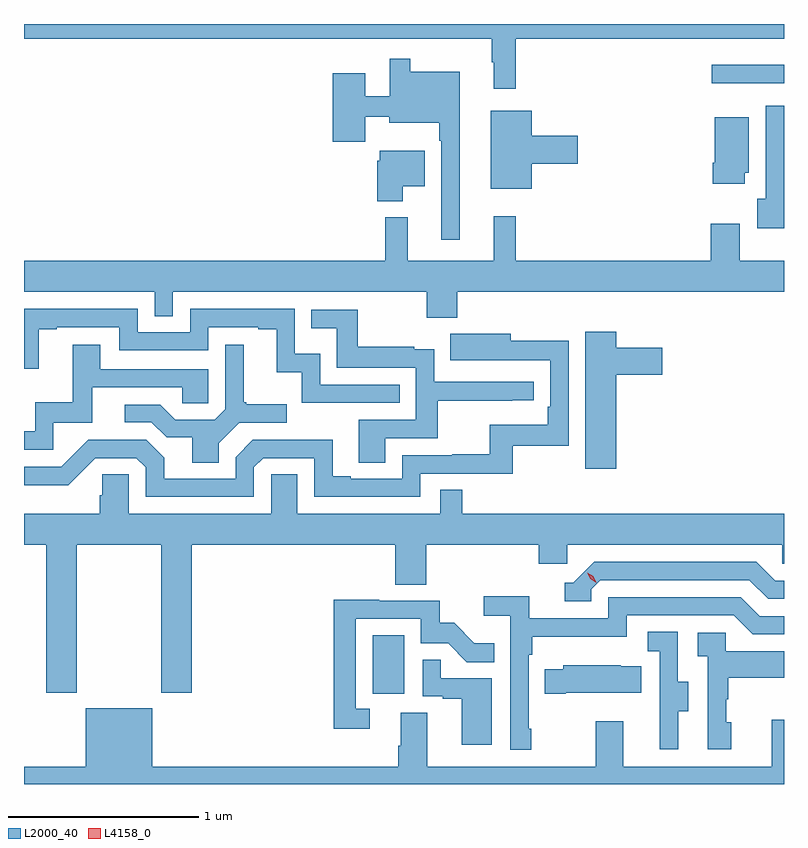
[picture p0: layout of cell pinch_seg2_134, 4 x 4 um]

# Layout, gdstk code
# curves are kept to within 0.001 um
import gdstk
lib = gdstk.Library(unit=1e-6, precision=1e-09)
def R(c, l, rs):  # rectangles x0, y0, x1, y1
    for r in rs: c.add(gdstk.rectangle(r[:2], r[2:], *l))
def P(c, l, *ps):  # polygons
    for p in ps: c.add(gdstk.Polygon(p, *l))
L2000_40 = (2000, 40)
L4158_0 = (4158, 0)

pinch_seg2_134 = lib.new_cell('pinch_seg2_134')
R(pinch_seg2_134, L2000_40, [(1057.538,638.862,1057.702,639.169), (1059.321,642.075,1059.702,642.172)])
P(pinch_seg2_134, L2000_40, [(1058.291,642.308),(1059.702,642.308),(1059.702,642.386),(1055.702,642.386),(1055.702,642.308),(1058.163,642.308),(1058.163,642.185),(1058.174,642.185),(1058.174,642.045),(1058.291,642.045)],
  [(1057.996,642.136),(1057.735,642.136),(1057.735,642.202),(1057.626,642.202),(1057.626,642.007),(1057.498,642.007),(1057.498,642.127),(1057.328,642.127),(1057.328,641.766),(1057.498,641.766),(1057.498,641.897),(1057.625,641.897),(1057.625,641.867),(1057.887,641.867),(1057.887,641.771),(1057.899,641.771),(1057.899,641.25),(1057.996,641.25)],
  [(1059.702,641.956),(1059.605,641.956),(1059.605,641.466),(1059.56,641.466),(1059.56,641.312),(1059.702,641.312)],
  [(1058.374,641.651),(1058.617,641.651),(1058.617,641.798),(1058.374,641.798),(1058.374,641.929),(1058.159,641.929),(1058.159,641.519),(1058.374,641.519)],
  [(1059.496,641.604),(1059.517,641.604),(1059.517,641.896),(1059.338,641.896),(1059.338,641.656),(1059.326,641.656),(1059.326,641.544),(1059.496,641.544)],
  [(1057.696,641.531),(1057.81,641.531),(1057.81,641.719),(1057.574,641.719),(1057.574,641.667),(1057.562,641.667),(1057.562,641.453),(1057.696,641.453)],
  [(1057.982,640.976),(1059.702,640.976),(1059.702,641.14),(1059.469,641.14),(1059.469,641.335),(1059.317,641.335),(1059.317,641.14),(1058.291,641.14),(1058.291,641.374),(1058.174,641.374),(1058.174,641.14),(1057.721,641.14),(1057.721,641.368),(1057.603,641.368),(1057.603,641.14),(1055.702,641.14),(1055.702,640.976),(1056.39,640.976),(1056.39,640.849),(1056.486,640.849),(1056.486,640.976),(1057.822,640.976),(1057.822,640.841),(1057.982,640.841)],
  [(1057.679,640.488),(1057.26,640.488),(1057.26,640.651),(1057.128,640.651),(1057.128,640.887),(1056.576,640.887),(1056.576,640.764),(1056.3,640.764),(1056.3,640.887),(1055.702,640.887),(1055.702,640.571),(1055.78,640.571),(1055.78,640.779),(1055.875,640.779),(1055.875,640.791),(1056.204,640.791),(1056.204,640.668),(1056.672,640.668),(1056.672,640.791),(1056.935,640.791),(1056.935,640.779),(1057.031,640.779),(1057.031,640.553),(1057.164,640.553),(1057.164,640.392),(1057.679,640.392)],
  [(1057.603,640.206),(1057.88,640.206),(1057.88,640.402),(1058.273,640.402),(1058.273,640.407),(1058.386,640.407),(1058.386,640.503),(1057.86,640.503),(1057.86,640.675),(1057.757,640.675),(1057.757,640.687),(1057.459,640.687),(1057.459,640.881),(1057.213,640.881),(1057.213,640.784),(1057.348,640.784),(1057.348,640.578),(1057.764,640.578),(1057.764,640.302),(1057.463,640.302),(1057.463,640.078),(1057.603,640.078)],
  [(1058.818,640.541),(1059.061,640.541),(1059.061,640.683),(1058.818,640.683),(1058.818,640.765),(1058.657,640.765),(1058.657,640.044),(1058.818,640.044)],
  [(1056.912,640.053),(1056.96,640.101),(1057.23,640.101),(1057.23,639.897),(1057.788,639.897),(1057.788,640.02),(1058.275,640.02),(1058.275,640.167),(1058.568,640.167),(1058.568,640.718),(1058.263,640.718),(1058.263,640.756),(1057.945,640.756),(1057.945,640.616),(1058.472,640.617),(1058.472,640.372),(1058.459,640.372),(1058.459,640.276),(1058.154,640.276),(1058.154,640.121),(1057.957,640.121),(1057.957,640.116),(1057.692,640.116),(1057.692,639.993),(1057.423,639.993),(1057.423,640.006),(1057.327,640.006),(1057.327,640.199),(1057.122,640.199),(1057.122,640.197),(1056.906,640.197),(1056.816,640.107),(1056.816,639.993),(1056.439,639.993),(1056.439,640.103),(1056.345,640.197),(1056.039,640.197),(1055.898,640.056),(1055.702,640.056),(1055.702,639.959),(1055.936,639.959),(1056.078,640.101),(1056.294,640.101),(1056.342,640.053),(1056.342,639.897),(1056.912,639.897)],
  [(1056.727,640.18),(1056.834,640.287),(1057.084,640.287),(1057.084,640.384),(1056.871,640.384),(1056.871,640.396),(1056.859,640.396),(1056.859,640.699),(1056.762,640.699),(1056.762,640.359),(1056.705,640.302),(1056.499,640.302),(1056.418,640.383),(1056.231,640.383),(1056.231,640.29),(1056.372,640.29),(1056.452,640.21),(1056.587,640.21),(1056.587,640.078),(1056.727,640.078)],
  [(1055.856,640.287),(1056.061,640.287),(1056.061,640.473),(1056.535,640.473),(1056.535,640.389),(1056.672,640.389),(1056.672,640.569),(1056.103,640.569),(1056.103,640.699),(1055.959,640.699),(1055.959,640.396),(1055.76,640.396),(1055.76,640.242),(1055.702,640.242),(1055.702,640.146),(1055.856,640.146)],
  [(1055.979,639.644),(1056.424,639.644),(1056.424,638.865),(1056.584,638.865),(1056.584,639.644),(1057.655,639.644),(1057.655,639.436),(1057.82,639.436),(1057.82,639.644),(1058.411,639.644),(1058.411,639.546),(1058.562,639.546),(1058.562,639.644),(1059.693,639.644),(1059.693,639.546),(1059.702,639.546),(1059.702,639.808),(1058.009,639.808),(1058.009,639.935),(1057.893,639.935),(1057.893,639.808),(1057.141,639.808),(1057.141,640.016),(1057.002,640.016),(1057.002,639.808),(1056.252,639.808),(1056.252,640.016),(1056.115,640.016),(1056.115,639.906),(1056.101,639.906),(1056.101,639.808),(1055.702,639.808),(1055.702,639.644),(1055.819,639.644),(1055.819,638.865),(1055.979,638.865)],
  [(1058.688,639.411),(1058.736,639.459),(1059.519,639.459),(1059.618,639.36),(1059.702,639.36),(1059.702,639.456),(1059.655,639.456),(1059.556,639.555),(1058.703,639.555),(1058.592,639.444),(1058.549,639.444),(1058.549,639.348),(1058.688,639.348)],
  [(1058.371,638.677),(1058.358,638.677),(1058.358,639.065),(1058.378,639.065),(1058.378,639.161),(1058.874,639.161),(1058.874,639.273),(1059.438,639.273),(1059.537,639.174),(1059.702,639.174),(1059.702,639.27),(1059.574,639.27),(1059.475,639.369),(1058.778,639.369),(1058.778,639.258),(1058.36,639.258),(1058.36,639.374),(1058.121,639.374),(1058.121,639.272),(1058.262,639.272),(1058.262,638.565),(1058.371,638.565)],
  [(1057.522,638.781),(1057.449,638.781),(1057.449,639.255),(1057.791,639.255),(1057.791,639.126),(1057.935,639.126),(1058.033,639.028),(1058.177,639.028),(1058.177,639.127),(1058.073,639.127),(1057.966,639.234),(1057.89,639.234),(1057.89,639.351),(1057.571,639.351),(1057.571,639.356),(1057.333,639.356),(1057.333,638.676),(1057.522,638.676)],
  [(1059.145,638.77),(1059.199,638.77),(1059.199,638.925),(1059.144,638.925),(1059.144,639.188),(1058.985,639.188),(1058.985,639.085),(1059.048,639.085),(1059.048,638.781),(1059.047,638.781),(1059.047,638.568),(1059.145,638.568)],
  [(1059.424,638.712),(1059.399,638.712),(1059.399,638.831),(1059.409,638.831),(1059.409,638.945),(1059.702,638.945),(1059.702,639.085),(1059.396,639.085),(1059.396,639.183),(1059.249,639.183),(1059.249,639.059),(1059.3,639.059),(1059.3,638.568),(1059.424,638.568)],
  [(1058.164,638.943),(1057.895,638.943),(1057.895,639.041),(1057.8,639.041),(1057.8,638.847),(1057.907,638.847),(1057.907,638.835),(1058.006,638.835),(1058.006,638.592),(1058.164,638.592)],
  [(1058.554,638.867),(1058.951,638.867),(1058.951,639.007),(1058.843,639.007),(1058.843,639.01),(1058.541,639.01),(1058.541,638.989),(1058.443,638.989),(1058.443,638.86),(1058.554,638.86)],
  [(1059.702,638.725),(1059.638,638.725),(1059.638,638.476),(1058.857,638.476),(1058.857,638.716),(1058.71,638.716),(1058.71,638.476),(1057.825,638.476),(1057.825,638.762),(1057.685,638.762),(1057.685,638.588),(1057.673,638.588),(1057.673,638.476),(1056.376,638.476),(1056.376,638.785),(1056.026,638.785),(1056.026,638.476),(1055.702,638.476),(1055.702,638.386),(1059.702,638.386)])
P(pinch_seg2_134, L4158_0, [(1058.713,639.446),(1058.682,639.465),(1058.666,639.498),(1058.666,639.498),(1058.666,639.498),(1058.697,639.479),(1058.713,639.446),(1058.713,639.446)])

lib.write_gds('pinch_seg2_134.gds')
